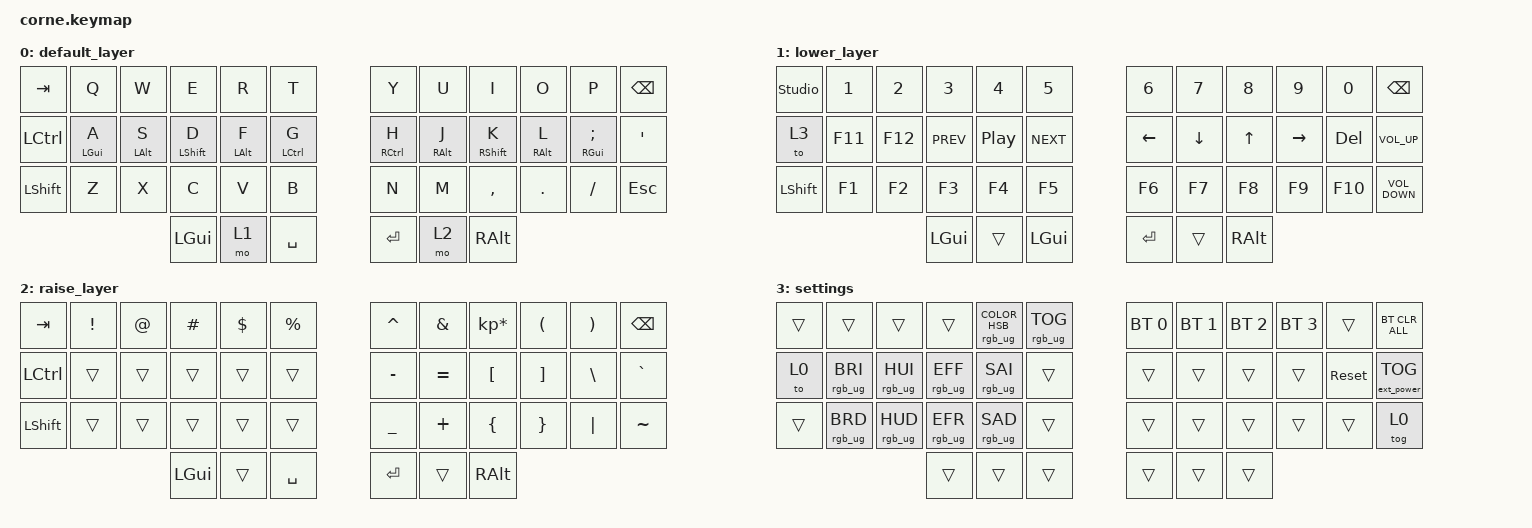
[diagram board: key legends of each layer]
/*
 * Copyright (c) 2020 The ZMK Contributors
 *
 * SPDX-License-Identifier: MIT
 */

#include <behaviors.dtsi>
#include <dt-bindings/zmk/bt.h>
#include <dt-bindings/zmk/ext_power.h>
#include <dt-bindings/zmk/keys.h>
#include <dt-bindings/zmk/rgb.h>

&led_strip { chain-length = <6>; };

/ {
    behaviors {
        hrm: home_row_mod {
            compatible = "zmk,behavior-hold-tap";
            #binding-cells = <2>;
            flavor = "balanced";
            tapping-term-ms = <150>;
            require-prior-idle-ms = <100>;
            bindings = <&kp>, <&kp>;
            display-name = "HRM";
        };
    };

    keymap {
        compatible = "zmk,keymap";

        default_layer {
            // -----------------------------------------------------------------------------------------
            // |  TAB |  Q  |  W  |  E  |  R  |  T  |   |  Y  |  U   |  I  |  O  |  P  | BKSP |
            // | CTRL |  A  |  S  |  D  |  F  |  G  |   |  H  |  J   |  K  |  L  |  ;  |  '   |
            // | LSHFT|  Z  |  X  |  C  |  V  |  B  |   |  N  |  M   |  ,  |  .  |  /  | ESC  |
            //                    |LGUI| LWR | SPC |   | ENT | RSE  | ALT |

            bindings = <
&kp TAB    &kp Q  &kp W  &kp E     &kp R  &kp T        &kp Y    &kp U  &kp I      &kp O    &kp P     &kp BSPC
&kp LCTRL  &hrm LGUI A  &hrm LALT S  &hrm LSHFT D  &hrm LALT F  &hrm LCTRL G  &hrm RCTRL H  &hrm RALT J  &hrm RSHFT K  &hrm RALT L  &hrm RGUI SEMI  &kp SQT
&kp LSHFT  &kp Z  &kp X  &kp C     &kp V  &kp B        &kp N    &kp M  &kp COMMA  &kp DOT  &kp FSLH  &kp ESC
                         &kp LGUI &mo 1  &kp SPACE    &kp RET  &mo 2  &kp RALT
            >;
        };

        lower_layer {
            // -----------------------------------------------------------------------------------------
            // |  GUI |  1  |  2  |  3  |  4  |  5  |   |  6  |  7  |  8  |  9  |  0  | BKSP |
            // | BTCLR| BT1 | BT2 | BT3 | BT4 | BT5 |   | LFT | DWN |  UP | RGT |     |      |
            // | LSHFT|     |     |     |     |     |   |     |     |     |     |     |      |
            //                    |LSHFT|     | SPC |   | ENT |     | ALT |

            bindings = <
&studio_unlock   &kp N1   &kp N2   &kp N3      &kp N4            &kp N5        &kp N6    &kp N7    &kp N8    &kp N9     &kp N0   &kp BSPC
&to 3      &kp F11  &kp F12  &kp C_PREV  &kp C_PLAY_PAUSE  &kp C_NEXT    &kp LEFT  &kp DOWN  &kp UP    &kp RIGHT  &kp DEL  &kp C_VOLUME_UP
&kp LSHFT   &kp F1   &kp F2   &kp F3      &kp F4            &kp F5        &kp F6    &kp F7    &kp F8    &kp F9     &kp F10  &kp C_VOLUME_DOWN
                             &kp LGUI   &trans            &kp LGUI      &kp RET   &trans    &kp RALT
            >;
        };

        raise_layer {
            // -----------------------------------------------------------------------------------------
            // |  TAB |  !  |  @  |  #  |  $  |  %  |   |  ^  |  &  |  *  |  (  |  )  | BKSP |
            // | CTRL |     |     |     |     |     |   |  -  |  =  |  [  |  ]  |  \  |  `   |
            // | LSHFT|     |     |     |     |     |   |  _  |  +  |  {  |  }  | "|" |  ~   |
            //                    |LSHFT|     | SPC |   | ENT |     | ALT |

            bindings = <
&kp TAB    &kp EXCL  &kp AT  &kp HASH  &kp DLLR  &kp PRCNT    &kp CARET  &kp AMPS   &kp KP_MULTIPLY  &kp LPAR  &kp RPAR  &kp BSPC
&kp LCTRL   &trans    &trans  &trans    &trans    &trans       &kp MINUS  &kp EQUAL  &kp LBKT         &kp RBKT  &kp BSLH  &kp GRAVE
&kp LSHFT  &trans    &trans  &trans    &trans    &trans       &kp UNDER  &kp PLUS   &kp LBRC         &kp RBRC  &kp PIPE  &kp TILDE
                             &kp LGUI &trans    &kp SPACE    &kp RET    &trans     &kp RALT
            >;
        };

        settings {
            bindings = <
&trans  &trans           &trans           &trans           &rgb_ug RGB_COLOR_HSB(0,0,100)  &rgb_ug RGB_TOG    &bt BT_SEL 0  &bt BT_SEL 1  &bt BT_SEL 2  &bt BT_SEL 3  &trans      &bt BT_CLR_ALL
&to 0   &rgb_ug RGB_BRI  &rgb_ug RGB_HUI  &rgb_ug RGB_EFF  &rgb_ug RGB_SAI                 &trans             &trans        &trans        &trans        &trans        &sys_reset  &ext_power EP_TOG
&trans  &rgb_ug RGB_BRD  &rgb_ug RGB_HUD  &rgb_ug RGB_EFR  &rgb_ug RGB_SAD                 &trans             &trans        &trans        &trans        &trans        &trans      &tog 0
                                          &trans           &trans                          &trans             &trans        &trans        &trans
            >;
        };
    };
};

